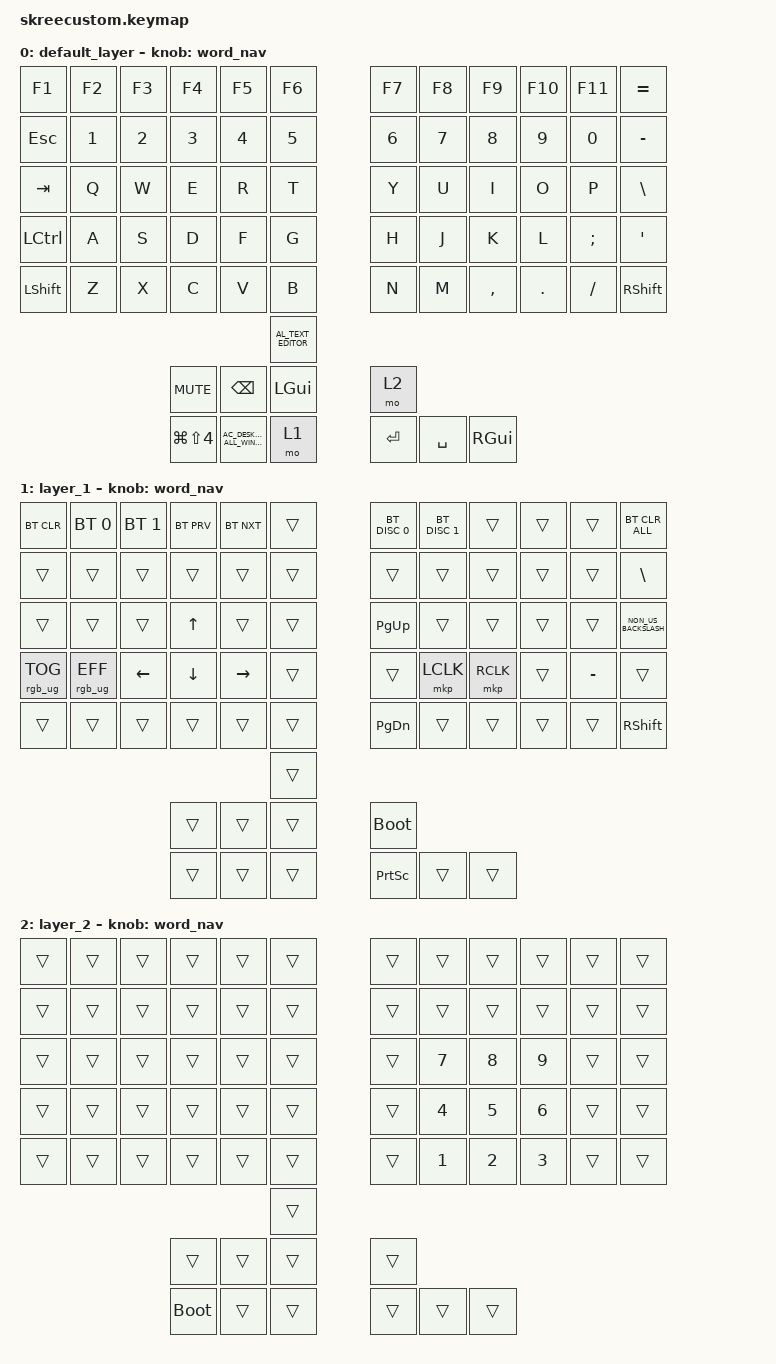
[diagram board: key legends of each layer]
/*
 * SPDX-License-Identifier: MIT
 */

#include <behaviors/mouse_keys.dtsi>
#include <dt-bindings/zmk/mouse.h>
#include <behaviors.dtsi>
#include <dt-bindings/zmk/bt.h>
#include <dt-bindings/zmk/keys.h>
#include <dt-bindings/zmk/pointing.h>
#include <dt-bindings/zmk/rgb.h>

/ {
    behaviors {
        word_nav: word_nav {
            compatible = "zmk,behavior-sensor-rotate";
            #sensor-binding-cells = <0>;
            bindings = <&kp LA(RIGHT)>, <&kp LA(LEFT)>;
        };
    };

    keymap {
        compatible = "zmk,keymap";

        default_layer {
            bindings = <
&kp F1          &kp F2  &kp F3  &kp F4          &kp F5                             &kp F6                  &kp F7     &kp F8     &kp F9         &kp F10  &kp F11   &kp EQUAL
&kp ESC         &kp N1  &kp N2  &kp N3          &kp N4                             &kp N5                  &kp N6     &kp N7     &kp N8         &kp N9   &kp N0    &kp MINUS
&kp TAB         &kp Q   &kp W   &kp E           &kp R                              &kp T                   &kp Y      &kp U      &kp I          &kp O    &kp P     &kp BACKSLASH
&kp LCTRL       &kp A   &kp S   &kp D           &kp F                              &kp G                   &kp H      &kp J      &kp K          &kp L    &kp SEMI  &kp SQT
&kp LEFT_SHIFT  &kp Z   &kp X   &kp C           &kp V                              &kp B                   &kp N      &kp M      &kp COMMA      &kp DOT  &kp FSLH  &kp RIGHT_SHIFT
                                                                                   &kp C_AL_TEXT_EDITOR
                                &kp C_MUTE      &kp BACKSPACE                      &kp LEFT_GUI            &mo 2
                                &kp LG(LS(N4))  &kp C_AC_DESKTOP_SHOW_ALL_WINDOWS  &mo 1                   &kp ENTER  &kp SPACE  &kp RIGHT_GUI
            >;

            sensor-bindings = <&word_nav>;
        };

        layer_1 {
            bindings = <
&bt BT_CLR       &bt BT_SEL 0     &bt BT_SEL 1    &bt BT_PRV      &bt BT_NXT  &trans    &bt BT_DISC 0    &bt BT_DISC 1  &trans     &trans  &trans     &bt BT_CLR_ALL
&trans           &trans           &trans          &trans          &trans      &trans    &trans           &trans         &trans     &trans  &trans     &kp BACKSLASH
&trans           &trans           &trans          &kp UP_ARROW    &trans      &trans    &kp PAGE_UP      &trans         &trans     &trans  &trans     &kp NON_US_BACKSLASH
&rgb_ug RGB_TOG  &rgb_ug RGB_EFF  &kp LEFT_ARROW  &kp DOWN_ARROW  &kp RIGHT   &trans    &trans           &mkp LCLK      &mkp RCLK  &trans  &kp MINUS  &trans
&trans           &trans           &trans          &trans          &trans      &trans    &kp PAGE_DOWN    &trans         &trans     &trans  &trans     &kp RIGHT_SHIFT
                                                                              &trans
                                                  &trans          &trans      &trans    &bootloader
                                                  &trans          &trans      &trans    &kp PRINTSCREEN  &trans         &trans
            >;

            sensor-bindings = <&word_nav>;
        };

        layer_2 {
            bindings = <
&trans  &trans  &trans  &trans       &trans  &trans    &trans  &trans  &trans  &trans  &trans  &trans
&trans  &trans  &trans  &trans       &trans  &trans    &trans  &trans  &trans  &trans  &trans  &trans
&trans  &trans  &trans  &trans       &trans  &trans    &trans  &kp N7  &kp N8  &kp N9  &trans  &trans
&trans  &trans  &trans  &trans       &trans  &trans    &trans  &kp N4  &kp N5  &kp N6  &trans  &trans
&trans  &trans  &trans  &trans       &trans  &trans    &trans  &kp N1  &kp N2  &kp N3  &trans  &trans
                                             &trans
                        &trans       &trans  &trans    &trans
                        &bootloader  &trans  &trans    &trans  &trans  &trans
            >;

            sensor-bindings = <&word_nav>;
        };
    };
};
